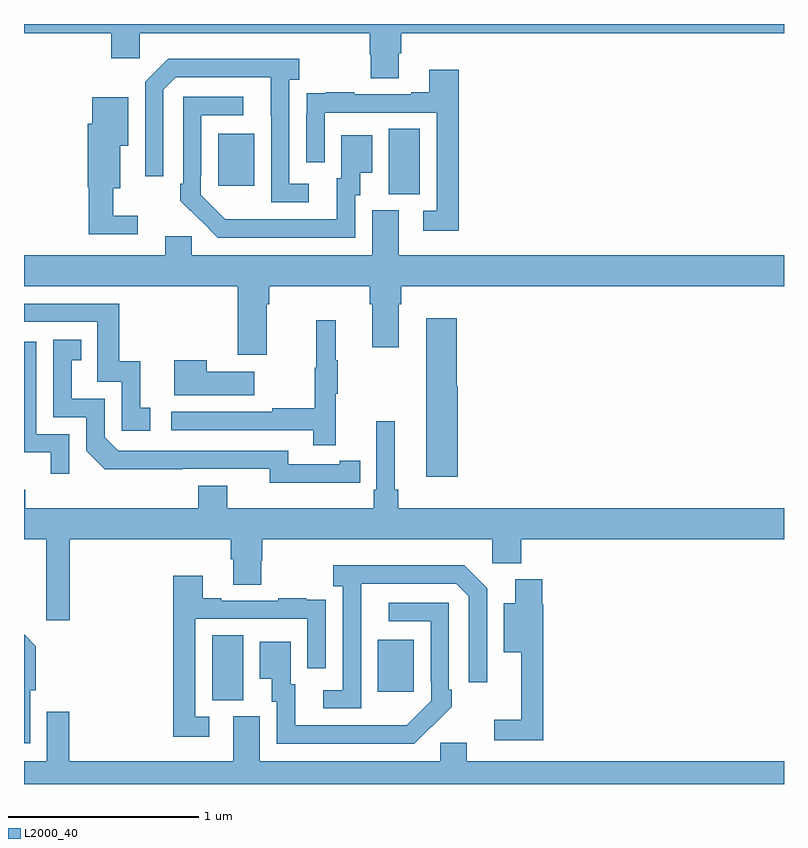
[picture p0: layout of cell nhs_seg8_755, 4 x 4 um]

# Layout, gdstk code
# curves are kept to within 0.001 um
import gdstk
lib = gdstk.Library(unit=1e-6, precision=1e-09)
def R(c, l, rs):  # rectangles x0, y0, x1, y1
    for r in rs: c.add(gdstk.rectangle(r[:2], r[2:], *l))
def P(c, l, *ps):  # polygons
    for p in ps: c.add(gdstk.Polygon(p, *l))
L2000_40 = (2000, 40)

nhs_seg8_755 = lib.new_cell('nhs_seg8_755')
R(nhs_seg8_755, L2000_40, [(161.99,1094.341,162.154,1094.684), (162.863,1094.385,163.051,1094.659), (162.92,1097.005,163.084,1097.348), (162.023,1097.049,162.211,1097.323)])
P(nhs_seg8_755, L2000_40, [(162.973,1097.746),(162.986,1097.746),(162.986,1097.852),(165,1097.852),(165,1097.9),(161,1097.9),(161,1097.852),(161.459,1097.852),(161.459,1097.721),(161.61,1097.721),(161.61,1097.852),(162.821,1097.852),(162.821,1097.739),(162.826,1097.739),(162.826,1097.614),(162.973,1097.614)],
  [(162.499,1097.058),(162.396,1097.058),(162.396,1097.606),(162.448,1097.606),(162.448,1097.716),(161.758,1097.716),(161.637,1097.595),(161.637,1097.1),(161.733,1097.1),(161.733,1097.553),(161.799,1097.619),(162.299,1097.619),(162.3,1096.962),(162.499,1096.962)],
  [(163.289,1097.659),(163.133,1097.659),(163.133,1097.542),(163.037,1097.542),(163.037,1097.529),(162.737,1097.529),(162.737,1097.542),(162.589,1097.542),(162.589,1097.535),(162.487,1097.535),(162.487,1097.426),(162.486,1097.426),(162.486,1097.172),(162.582,1097.172),(162.582,1097.433),(163.173,1097.433),(163.173,1096.917),(163.101,1096.917),(163.101,1096.812),(163.289,1096.812)],
  [(162.744,1096.998),(162.769,1096.998),(162.769,1097.117),(162.832,1097.117),(162.832,1097.314),(162.671,1097.314),(162.671,1097.088),(162.647,1097.088),(162.647,1096.872),(162.06,1096.873),(161.931,1097.001),(161.931,1097.101),(161.934,1097.101),(161.934,1097.421),(162.154,1097.421),(162.154,1097.517),(161.838,1097.517),(161.838,1097.059),(161.823,1097.059),(161.823,1096.971),(162.02,1096.776),(162.744,1096.776)],
  [(161.599,1096.891),(161.47,1096.891),(161.47,1097.036),(161.506,1097.036),(161.506,1097.258),(161.548,1097.258),(161.548,1097.515),(161.36,1097.515),(161.36,1097.376),(161.336,1097.376),(161.336,1097.04),(161.341,1097.04),(161.341,1096.794),(161.599,1096.794)],
  [(162.277,1096.424),(162.29,1096.424),(162.29,1096.52),(162.821,1096.52),(162.821,1096.424),(162.833,1096.424),(162.833,1096.2),(162.973,1096.2),(162.973,1096.424),(162.986,1096.424),(162.986,1096.52),(165,1096.52),(165,1096.684),(162.973,1096.684),(162.973,1096.92),(162.833,1096.92),(162.833,1096.684),(161.883,1096.684),(161.883,1096.782),(161.744,1096.782),(161.744,1096.684),(161,1096.684),(161,1096.52),(162.125,1096.52),(162.125,1096.158),(162.277,1096.158)],
  [(161.665,1095.879),(161.612,1095.879),(161.612,1096.126),(161.501,1096.126),(161.501,1096.428),(161,1096.428),(161,1096.332),(161.385,1096.332),(161.385,1096.017),(161.514,1096.017),(161.514,1095.759),(161.665,1095.759)],
  [(163.282,1095.993),(163.277,1095.993),(163.277,1096.351),(163.118,1096.351),(163.118,1095.516),(163.282,1095.516)],
  [(162.641,1095.955),(162.652,1095.955),(162.652,1096.129),(162.641,1096.129),(162.641,1096.342),(162.538,1096.342),(162.538,1096.092),(162.531,1096.092),(162.531,1095.878),(162.307,1095.878),(162.307,1095.858),(161.775,1095.858),(161.775,1095.762),(162.523,1095.762),(162.523,1095.684),(162.641,1095.684)],
  [(162.662,1095.486),(162.77,1095.486),(162.77,1095.602),(162.662,1095.602),(162.662,1095.582),(162.39,1095.582),(162.39,1095.654),(161.496,1095.654),(161.424,1095.726),(161.424,1095.927),(161.251,1095.927),(161.251,1096.131),(161.3,1096.131),(161.3,1096.237),(161.154,1096.237),(161.154,1095.831),(161.328,1095.831),(161.328,1095.654),(161.426,1095.557),(162.294,1095.558),(162.294,1095.485)],
  [(161.238,1095.741),(161.064,1095.741),(161.064,1096.227),(161,1096.227),(161,1095.645),(161.141,1095.645),(161.141,1095.534),(161.238,1095.534)],
  [(162.211,1096.069),(161.963,1096.069),(161.963,1096.129),(161.792,1096.129),(161.792,1095.947),(162.211,1095.947)],
  [(161.24,1095.188),(162.089,1095.188),(162.089,1095.082),(162.101,1095.082),(162.101,1094.95),(162.249,1094.95),(162.249,1095.075),(162.254,1095.075),(162.254,1095.188),(163.464,1095.188),(163.464,1095.062),(163.616,1095.062),(163.616,1095.188),(165,1095.188),(165,1095.352),(162.971,1095.352),(162.971,1095.448),(162.952,1095.448),(162.952,1095.808),(162.855,1095.808),(162.855,1095.448),(162.842,1095.448),(162.842,1095.352),(162.07,1095.352),(162.07,1095.469),(161.918,1095.469),(161.918,1095.352),(161.006,1095.352),(161.006,1095.45),(161,1095.45),(161,1095.188),(161.117,1095.188),(161.117,1094.763),(161.24,1094.763)],
  [(162.774,1094.755),(162.775,1094.955),(163.275,1094.955),(163.341,1094.889),(163.341,1094.436),(163.437,1094.436),(163.437,1094.931),(163.316,1095.052),(162.627,1095.052),(162.627,1094.942),(162.678,1094.942),(162.678,1094.394),(162.576,1094.394),(162.576,1094.298),(162.774,1094.298)],
  [(161.974,1094.253),(161.901,1094.253),(161.901,1094.769),(162.492,1094.769),(162.492,1094.508),(162.588,1094.508),(162.588,1094.762),(162.587,1094.762),(162.587,1094.871),(162.485,1094.871),(162.485,1094.878),(162.337,1094.878),(162.337,1094.865),(162.037,1094.865),(162.037,1094.878),(161.941,1094.878),(161.941,1094.995),(161.785,1094.995),(161.785,1094.148),(161.974,1094.148)],
  [(163.733,1094.847),(163.727,1094.847),(163.727,1094.977),(163.586,1094.977),(163.586,1094.851),(163.526,1094.851),(163.526,1094.594),(163.616,1094.594),(163.616,1094.239),(163.476,1094.239),(163.476,1094.13),(163.733,1094.13)],
  [(163.145,1094.203),(163.146,1094.202),(163.251,1094.307),(163.251,1094.395),(163.236,1094.395),(163.236,1094.853),(162.921,1094.853),(162.921,1094.757),(163.14,1094.757),(163.14,1094.437),(163.143,1094.437),(163.143,1094.337),(163.015,1094.209),(162.427,1094.208),(162.427,1094.424),(162.403,1094.424),(162.403,1094.65),(162.242,1094.65),(162.242,1094.453),(162.305,1094.453),(162.305,1094.334),(162.33,1094.334),(162.33,1094.112),(163.054,1094.112)],
  [(161.032,1094.394),(161.063,1094.394),(161.063,1094.626),(161,1094.689),(161,1094.114),(161.032,1094.114)],
  [(165,1094.02),(163.33,1094.02),(163.33,1094.118),(163.191,1094.118),(163.191,1094.02),(162.241,1094.02),(162.241,1094.256),(162.101,1094.256),(162.101,1094.02),(161.237,1094.02),(161.237,1094.281),(161.121,1094.281),(161.121,1094.02),(161,1094.02),(161,1093.9),(165,1093.9)])

lib.write_gds('nhs_seg8_755.gds')
